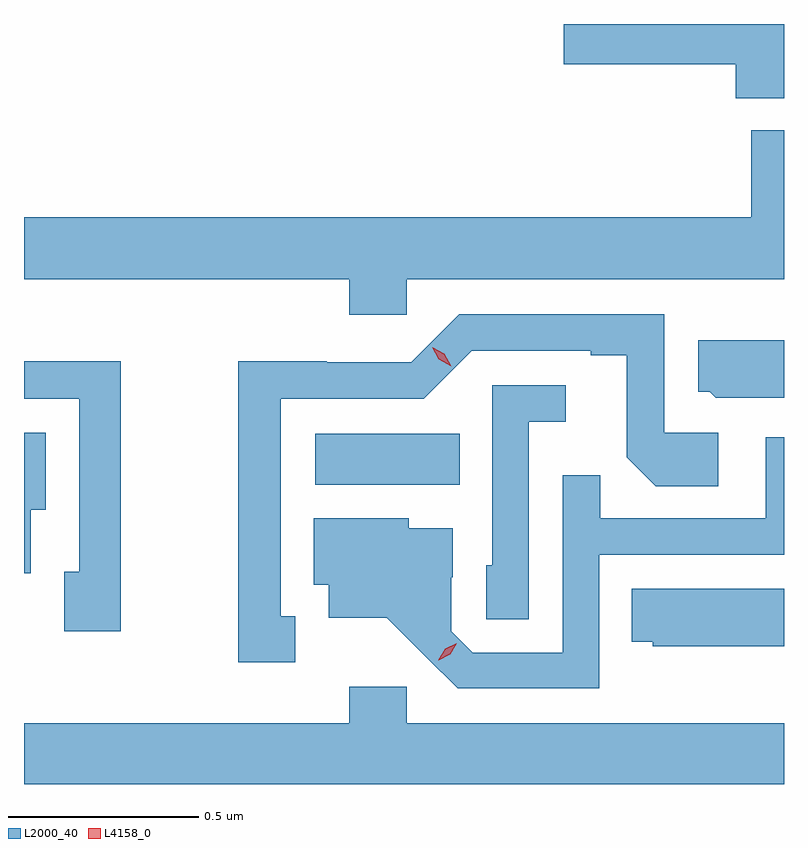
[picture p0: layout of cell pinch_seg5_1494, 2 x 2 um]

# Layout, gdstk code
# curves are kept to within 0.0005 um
import gdstk
lib = gdstk.Library(unit=1e-6, precision=1e-09)
def R(c, l, rs):  # rectangles x0, y0, x1, y1
    for r in rs: c.add(gdstk.rectangle(r[:2], r[2:], *l))
def P(c, l, *ps):  # polygons
    for p in ps: c.add(gdstk.Polygon(p, *l))
L2000_40 = (2000, 40)
L4158_0 = (4158, 0)

pinch_seg5_1494 = lib.new_cell('pinch_seg5_1494')
R(pinch_seg5_1494, L2000_40, [(154.248,880.196,154.628,880.33)])
P(pinch_seg5_1494, L2000_40, [(155.481,881.408),(154.902,881.408),(154.902,881.302),(155.354,881.302),(155.354,881.213),(155.481,881.213)],
  [(154.488,880.736),(155.481,880.736),(155.481,881.128),(155.395,881.128),(155.395,880.9),(153.481,880.9),(153.481,880.736),(154.337,880.736),(154.337,880.643),(154.488,880.643)],
  [(154.195,879.849),(154.156,879.849),(154.156,880.422),(154.533,880.422),(154.659,880.548),(154.973,880.548),(154.973,880.536),(155.067,880.536),(155.067,880.268),(155.143,880.192),(155.308,880.192),(155.308,880.332),(155.166,880.332),(155.166,880.644),(154.626,880.644),(154.5,880.518),(154.278,880.518),(154.278,880.52),(154.045,880.52),(154.045,879.729),(154.195,879.729)],
  [(155.436,880.425),(155.481,880.425),(155.481,880.576),(155.255,880.576),(155.255,880.44),(155.286,880.44),(155.302,880.424),(155.436,880.424)],
  [(153.736,880.52),(153.481,880.52),(153.481,880.422),(153.627,880.422),(153.627,879.966),(153.587,879.966),(153.587,879.81),(153.736,879.81)],
  [(154.809,880.361),(154.906,880.361),(154.906,880.458),(154.713,880.458),(154.713,879.984),(154.698,879.984),(154.698,879.841),(154.809,879.841)],
  [(153.499,880.13),(153.538,880.13),(153.538,880.333),(153.481,880.333),(153.481,879.962),(153.499,879.962)],
  [(154.995,880.011),(155.481,880.011),(155.481,880.321),(155.433,880.321),(155.433,880.107),(154.997,880.107),(154.997,880.22),(154.899,880.22),(154.899,879.753),(154.662,879.753),(154.605,879.81),(154.605,879.952),(154.609,879.952),(154.609,880.081),(154.494,880.081),(154.494,880.108),(154.244,880.108),(154.244,879.932),(154.283,879.932),(154.283,879.845),(154.435,879.845),(154.622,879.66),(154.995,879.66)],
  [(155.481,879.922),(155.08,879.922),(155.08,879.782),(155.136,879.782),(155.136,879.77),(155.481,879.77)],
  [(155.481,879.568),(154.488,879.568),(154.488,879.664),(154.337,879.664),(154.337,879.568),(153.481,879.568),(153.481,879.408),(155.481,879.408)])
P(pinch_seg5_1494, L4158_0, [(154.605,880.508),(154.573,880.526),(154.555,880.558),(154.555,880.558),(154.555,880.558),(154.587,880.54),(154.605,880.508),(154.605,880.508)],
  [(154.571,879.734),(154.571,879.734),(154.589,879.764),(154.62,879.778),(154.62,879.778),(154.62,879.778),(154.603,879.749),(154.572,879.734)])

lib.write_gds('pinch_seg5_1494.gds')
